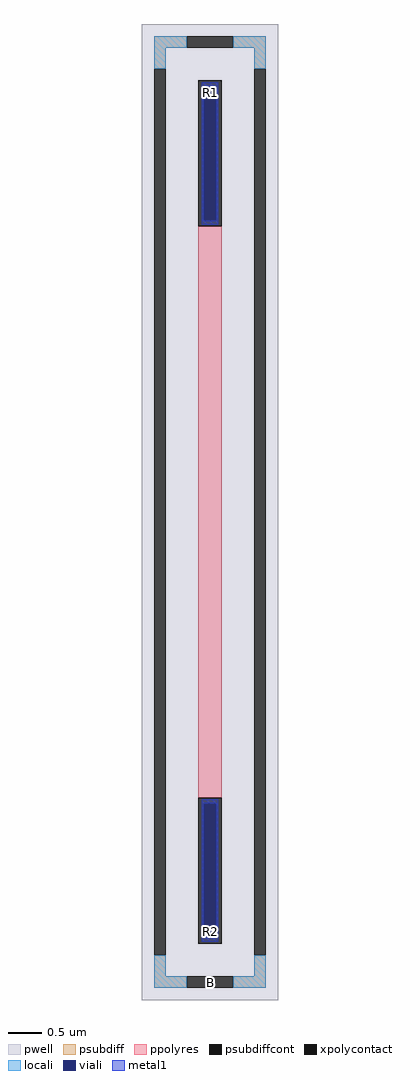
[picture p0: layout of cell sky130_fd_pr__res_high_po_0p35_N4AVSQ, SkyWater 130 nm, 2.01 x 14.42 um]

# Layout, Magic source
magic
tech sky130A
magscale 1 2
<< pwell >>
rect -201 -1442 201 1442
<< psubdiff >>
rect -165 1372 -69 1406
rect 69 1372 165 1406
rect -165 1310 -131 1372
rect 131 1310 165 1372
rect -165 -1372 -131 -1310
rect 131 -1372 165 -1310
rect -165 -1406 -69 -1372
rect 69 -1406 165 -1372
<< psubdiffcont >>
rect -69 1372 69 1406
rect -165 -1310 -131 1310
rect 131 -1310 165 1310
rect -69 -1406 69 -1372
<< xpolycontact >>
rect -35 844 35 1276
rect -35 -1276 35 -844
<< ppolyres >>
rect -35 -844 35 844
<< locali >>
rect -165 1372 -69 1406
rect 69 1372 165 1406
rect -165 1310 -131 1372
rect 131 1310 165 1372
rect -165 -1372 -131 -1310
rect 131 -1372 165 -1310
rect -165 -1406 -69 -1372
rect 69 -1406 165 -1372
<< viali >>
rect -19 861 19 1258
rect -19 -1258 19 -861
<< metal1 >>
rect -25 1258 25 1270
rect -25 861 -19 1258
rect 19 861 25 1258
rect -25 849 25 861
rect -25 -861 25 -849
rect -25 -1258 -19 -861
rect 19 -1258 25 -861
rect -25 -1270 25 -1258
<< labels >>
rlabel psubdiffcont 0 -1389 0 -1389 0 B
port 4 nsew
rlabel xpolycontact 0 1241 0 1241 0 R1
port 5 nsew
rlabel xpolycontact 0 -1241 0 -1241 0 R2
port 6 nsew
<< properties >>
string FIXED_BBOX -148 -1389 148 1389
string gencell sky130_fd_pr__res_high_po_0p35
string library sky130
string parameters w 0.35 l 8.6 m 1 nx 1 wmin 0.350 lmin 0.50 class resistor rho 319.8 val 8.971k dummy 0 dw 0.0 term 194.82 sterm 0.0 caplen 0 guard 1 glc 1 grc 1 gtc 1 gbc 1 compatible {sky130_fd_pr__res_high_po_0p35  sky130_fd_pr__res_high_po_0p69 sky130_fd_pr__res_high_po_1p41  sky130_fd_pr__res_high_po_2p85 sky130_fd_pr__res_high_po_5p73} snake 0 full_metal 1 wmax 0.350 vias 1 n_guard 0 hv_guard 0 viagb 0 viagt 0 viagl 0 viagr 0 doports 1
<< end >>
